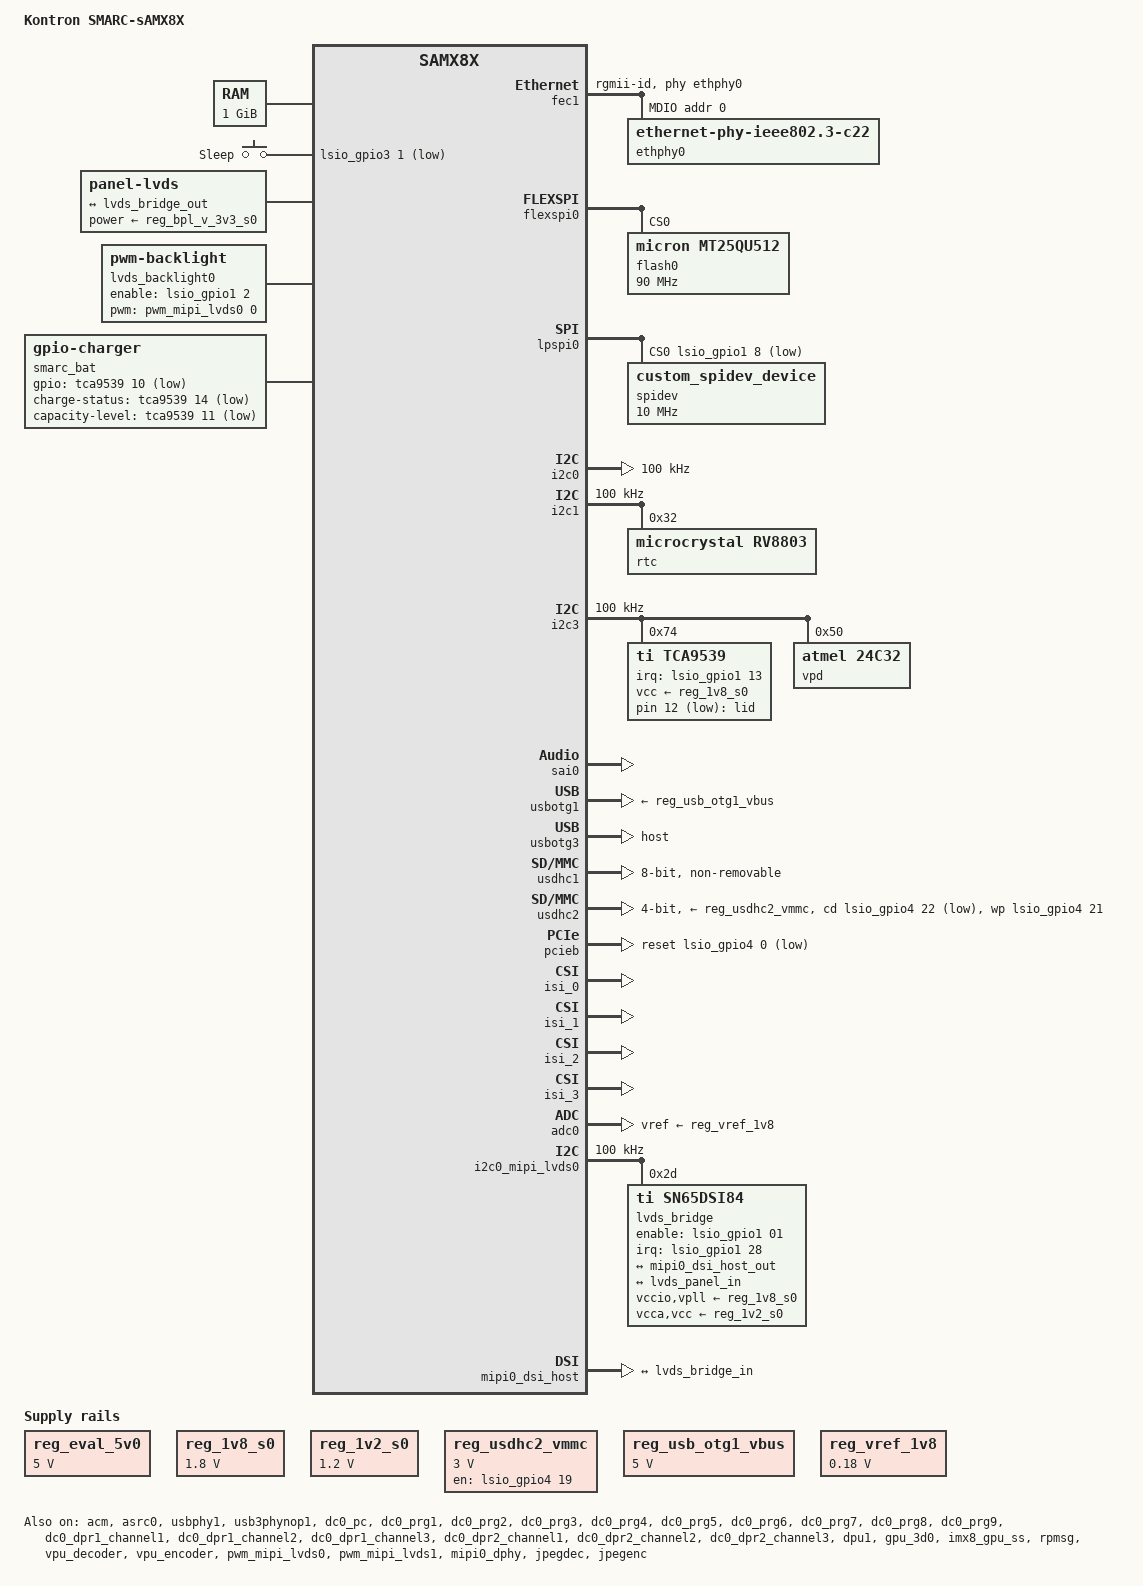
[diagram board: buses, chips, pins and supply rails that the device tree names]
/*
 * Copyright 2017 NXP
 * Copyright 2023 Berg Propulsion
 *
 * This program is free software; you can redistribute it and/or
 * modify it under the terms of the GNU General Public License
 * as published by the Free Software Foundation; either version 2
 * of the License, or (at your option) any later version.
 *
 * This program is distributed in the hope that it will be useful,
 * but WITHOUT ANY WARRANTY; without even the implied warranty of
 * MERCHANTABILITY or FITNESS FOR A PARTICULAR PURPOSE.  See the
 * GNU General Public License for more details.
 */

// This file now reflects the mpcflex hardware.

// In other words it contains the same as mpcflex.dts or mpcflex-p1.dts
// However, since the bootloaders are currently coded to load this file
// it will temporarily be (mis)named using the original BSP naming:
// kontron-samx8x-* ...

// Furthermore, content is still split between kontron-samx8x.dtsi and
// kontron-samx8x-qxp.dts.  That is a normal setup to specify the whole range
// of capabilities in the dtsi, and then refine the actual hardware usage in
// the dts.  However, in this case the content did not appear to be perfectly split
// and even some features unique to the Evaluation carrier board seemed to be
// mixed into the files that are supposed to be generic for the SMARC
// system-on-module only.  It is not ideal for a modular/flexible BSP, but
// for our MPC Flex product-specific we should be more free to combine data
// into a single description optimized for our purpose.
// For now, we keep the dtsi/dts split at the moment to be more similar to the
// original BSP files.

#include <dt-bindings/input/input.h>
#include <dt-bindings/usb/pd.h>

/ {
	model = "Kontron SMARC-sAMX8X";
	compatible = "kontron,samx8x";

	chosen {
//		bootargs = "console=ttyLP0,115200 earlycon=lpuart32,0x5a060000,115200";
		bootargs = "console=ttyLP0,115200 earlycon";
		stdout-path = &lpuart0;
	};

	scu {
		thermal-sensor {
			tsens-num = <1>;
		};
	};

	aliases {
		csi0 = &mipi_csi_0;
		dpu0 = &dpu1;
		ethernet0 = &fec1;
		ethernet1 = &fec2;
		dsi_phy0 = &mipi0_dphy;
		dsi_phy1 = &mipi1_dphy;
		mipi_dsi0 = &mipi0_dsi_host;
		mipi_dsi1 = &mipi1_dsi_host;
		ldb0 = &ldb1;
		ldb1 = &ldb2;
		isi0 = &isi_0;
		isi1 = &isi_1;
		isi2 = &isi_2;
		isi3 = &isi_3;
		isi4 = &isi_4;
		isi5 = &isi_5;
		isi6 = &isi_6;
		isi7 = &isi_7;
		serial0 = &lpuart0;
		serial1 = &lpuart1;
		serial2 = &lpuart2;
		serial3 = &lpuart3;
		mmc0 = &usdhc1;
		mmc1 = &usdhc2;
		can0 = &flexcan1;
		can1 = &flexcan2;
		i2c0 = &i2c0;    /* i2c_pm */
		i2c1 = &i2c1;    /* i2c_int*/
		i2c2 = &i2c3;    /* i2c_gp */
		i2c3 = &i2c_mipi_csi0;
		i2c4 = &i2c0_mipi_lvds0;
		i2c5 = &i2c0_mipi_lvds1;
		gpio0 = &lsio_gpio0;
		gpio1 = &lsio_gpio1;
		gpio2 = &lsio_gpio2;
		gpio3 = &lsio_gpio3;
		gpio4 = &lsio_gpio4;
		gpio5 = &lsio_gpio5;
		gpio6 = &lsio_gpio6;
		gpio7 = &lsio_gpio7;
	};

	memory@80000000 {
		device_type = "memory";
		reg = <0x00000000 0x80000000 0 0x40000000>;
	};

	reserved-memory {
		#address-cells = <2>;
		#size-cells = <2>;
		ranges;

		/*
		 * 0x8800_0000 ~ 0x8FFF_FFFF is reserved for M4
		 * Shouldn't be used at A core and Linux side.
		 *
		 */
		m4_reserved: m4@0x88000000 {
			no-map;
			reg = <0 0x88000000 0 0x8000000>;
		};

		rpmsg_reserved: rpmsg@0x90000000 {
			no-map;
			reg = <0 0x90000000 0 0x400000>;
		};

		rpmsg_dma_reserved:rpmsg_dma@0x90400000 {
			compatible = "shared-dma-pool";
			no-map;
			reg = <0 0x90400000 0 0x100000>;
		};

		decoder_boot: decoder-boot@84000000 {
			reg = <0 0x84000000 0 0x2000000>;
			no-map;
		};

		encoder_boot: encoder-boot@86000000 {
			reg = <0 0x86000000 0 0x200000>;
			no-map;
		};

		decoder_rpc: decoder-rpc@0x92000000 {
			reg = <0 0x92000000 0 0x200000>;
			no-map;
		};

		encoder_rpc: encoder-rpc@0x92200000 {
			reg = <0 0x92200000 0 0x200000>;
			no-map;
		};

		encoder_reserved: encoder_reserved@94400000 {
			no-map;
			reg = <0 0x94400000 0 0x800000>;
		};
	};

	reg_eval_5v0: regulator-eval-5V0 {
		compatible = "regulator-fixed";
		regulator-name = "eval-5V0";
		regulator-min-microvolt = <5000000>;
		regulator-max-microvolt = <5000000>;
	};

	reg_1v8_s0: regulator-pmic-1v8 {
		compatible = "regulator-fixed";
		regulator-name = "edp-bridge-1v8";
		regulator-min-microvolt = <1800000>;
		regulator-max-microvolt = <1800000>;
	};

	reg_1v2_s0: regulator-edp-bridge {
		compatible = "regulator-fixed";
		regulator-name = "edp-bridge-1v2";
		regulator-min-microvolt = <1200000>;
		regulator-max-microvolt = <1200000>;
	};

	reg_usdhc2_vmmc: usdhc2_vmmc {
		compatible = "regulator-fixed";
		regulator-name = "SD1_SPWR";
		regulator-min-microvolt = <3000000>;
		regulator-max-microvolt = <3000000>;
		gpio = <&lsio_gpio4 19 GPIO_ACTIVE_HIGH>;
		off-on-delay = <3480>;
		enable-active-high;
	};

	reg_usb_otg1_vbus: regulator@0 {
		compatible = "regulator-fixed";
//		reg = <0>;
		regulator-name = "usb_otg1_vbus";
		regulator-min-microvolt = <5000000>;
		regulator-max-microvolt = <5000000>;
	};

	reg_vref_1v8: adc_vref_1v8 {
		compatible = "regulator-fixed";
		regulator-name = "vref_1v8";
		regulator-min-microvolt = <180000>;
		regulator-max-microvolt = <180000>;
	};

	gpio-input {
		compatible = "gpio-keys-polled";
		pinctrl-names = "default";
		pinctrl-0 = <&gpio_keys>;
		#address-cells = <1>;
		#size-cells = <0>;
		poll-interval = <100>;
		autorepeat;
		lid {
			label = "lid";
			linux,input-type = <EV_SW>;
			linux,code = <SW_LID>;
			gpios = <&tca9539 12 1>;
		};

		sleep {
			label = "Sleep";
			gpios = <&lsio_gpio3 1 GPIO_ACTIVE_LOW>;
			linux,code = <KEY_SLEEP>;
			debounce-interval = <1>;
//			gpio-key,wakeup;
		};
	};

	// Quick references to related files:
	// Driver: ../../../../../drivers/gpu/drm/panel/panel-simple.c
	// The main DTS file: ./kontron-samx8x-qxp.dts
	lvds: display@0 {
		label = "lvds";
		power-supply = <&reg_bpl_v_3v3_s0>;
		compatible = "panel-lvds";
		data-mapping = "vesa-24";

		// Width/Height is required! (the actual size might not be correct
		// right now, but some values must be set)
		width-mm = <476>;
		height-mm = <268>;

		// Parameters according to the 10.4 timing.pdf we received:
		panel-timing {
			hactive = <1024>;
			vactive = <768>;
			clock-frequency = <65000000>;
			hsync-len = <30>;
			hback-porch = <100>;
			hfront-porch = <190>;
			vsync-len = <5>;
			vback-porch = <10>;
			vfront-porch = <23>;
		};

		port {
			lvds_panel_in: endpoint {
				remote-endpoint = <&lvds_bridge_out>;
			};
		};
	};

	lvds_backlight0: lvds_backlight@0 {
		compatible = "pwm-backlight";
		pwms = <&pwm_mipi_lvds0 0 5000000 0>;
		enable-gpios = <&lsio_gpio1 2 GPIO_ACTIVE_HIGH>;
		brightness-levels = < 0  1  2  3  4  5  6  7  8  9
				     10 11 12 13 14 15 16 17 18 19
				     20 21 22 23 24 25 26 27 28 29
				     30 31 32 33 34 35 36 37 38 39
				     40 41 42 43 44 45 46 47 48 49
				     50 51 52 53 54 55 56 57 58 59
				     60 61 62 63 64 65 66 67 68 69
				     70 71 72 73 74 75 76 77 78 79
				     80 81 82 83 84 85 86 87 88 89
				     90 91 92 93 94 95 96 97 98 99
				    100>;
		default-brightness-level = <80>;
	};

        // We only have one display, so this should probably be deleted
	/*lvds_backlight1: lvds_backlight@1 {
		compatible = "pwm-backlight";
		pwms = <&pwm_mipi_lvds1 0 5000000 0>;
		enable-gpios = <&lsio_gpio1 0 GPIO_ACTIVE_HIGH>;
		brightness-levels = < 0  1  2  3  4  5  6  7  8  9
				     10 11 12 13 14 15 16 17 18 19
				     20 21 22 23 24 25 26 27 28 29
				     30 31 32 33 34 35 36 37 38 39
				     40 41 42 43 44 45 46 47 48 49
				     50 51 52 53 54 55 56 57 58 59
				     60 61 62 63 64 65 66 67 68 69
				     70 71 72 73 74 75 76 77 78 79
				     80 81 82 83 84 85 86 87 88 89
				     90 91 92 93 94 95 96 97 98 99
				    100>;
		default-brightness-level = <80>;
	};
*/

	smarc_bat: gpio-charger0 {
		compatible = "gpio-charger";
		charger-type = "battery";
		gpios = <&tca9539 10 GPIO_ACTIVE_LOW>;
		charge-status-gpios = <&tca9539 14 GPIO_ACTIVE_LOW>;
		capacity-level-gpios = <&tca9539 11 GPIO_ACTIVE_LOW>;
	};
};

// acm is for audio, defined in freescale (audio) dtsi
&acm {
	status = "okay";
};

// asrc0 is for audio, defined in freescale (audio) dtsi
&asrc0 {
	fsl,asrc-rate  = <48000>;
	status = "okay";
};

// iomuxc is an io mux presumably, 
// defined in freescale (SoC) dtsi, for example imx8qm/mm/ etc .dtsi
&iomuxc {
	samx8x {
		pinctrl_csi0_lpi2c0: csi0lpi2c0grp {
			fsl,pins = <
				IMX8QXP_MIPI_CSI0_I2C0_SCL_MIPI_CSI0_I2C0_SCL	0xc2000020
				IMX8QXP_MIPI_CSI0_I2C0_SDA_MIPI_CSI0_I2C0_SDA	0xc2000020
			>;
		};

		pinctrl_lpuart0: lpuart0grp {
			fsl,pins = <
				IMX8QXP_UART0_RX_ADMA_UART0_RX	0x06000020
				IMX8QXP_UART0_TX_ADMA_UART0_TX	0x06000020
			>;
		};

		pinctrl_lpuart1: lpuart1grp {
			fsl,pins = <
				IMX8QXP_UART1_TX_ADMA_UART1_TX		0x06000020
				IMX8QXP_UART1_RX_ADMA_UART1_RX		0x06000020
				IMX8QXP_UART1_RTS_B_ADMA_UART1_RTS_B	0x06000020
				IMX8QXP_UART1_CTS_B_ADMA_UART1_CTS_B	0x06000020
			>;
		};

		pinctrl_lpuart2: lpuart2grp {
			fsl,pins = <
				IMX8QXP_UART2_TX_ADMA_UART2_TX	0x06000020
				IMX8QXP_UART2_RX_ADMA_UART2_RX	0x06000020
			>;
		};

		pinctrl_lpuart3: lpuart3grp {
			fsl,pins = <
				IMX8QXP_FLEXCAN2_TX_ADMA_UART3_TX	0x06000020
				IMX8QXP_FLEXCAN2_RX_ADMA_UART3_RX	0x06000020
			>;
		};

		pinctrl_fec1: fec1grp {
			fsl,pins = <
				IMX8QXP_ENET0_MDC_CONN_ENET0_MDC			0x06000020
				IMX8QXP_ENET0_MDIO_CONN_ENET0_MDIO			0x06000020
				IMX8QXP_ENET0_RGMII_TX_CTL_CONN_ENET0_RGMII_TX_CTL	0x06000020
				IMX8QXP_ENET0_RGMII_TXC_CONN_ENET0_RGMII_TXC		0x06000020
				IMX8QXP_ENET0_RGMII_TXD0_CONN_ENET0_RGMII_TXD0		0x06000020
				IMX8QXP_ENET0_RGMII_TXD1_CONN_ENET0_RGMII_TXD1		0x06000020
				IMX8QXP_ENET0_RGMII_TXD2_CONN_ENET0_RGMII_TXD2		0x06000020
				IMX8QXP_ENET0_RGMII_TXD3_CONN_ENET0_RGMII_TXD3		0x06000020
				IMX8QXP_ENET0_RGMII_RXC_CONN_ENET0_RGMII_RXC		0x06000020
				IMX8QXP_ENET0_RGMII_RX_CTL_CONN_ENET0_RGMII_RX_CTL	0x06000020
				IMX8QXP_ENET0_RGMII_RXD0_CONN_ENET0_RGMII_RXD0		0x06000020
				IMX8QXP_ENET0_RGMII_RXD1_CONN_ENET0_RGMII_RXD1		0x06000020
				IMX8QXP_ENET0_RGMII_RXD2_CONN_ENET0_RGMII_RXD2		0x06000020
				IMX8QXP_ENET0_RGMII_RXD3_CONN_ENET0_RGMII_RXD3		0x06000020
			>;
		};

		pinctrl_flexcan1: flexcan0grp {
			fsl,pins = <
				IMX8QXP_FLEXCAN0_TX_ADMA_FLEXCAN0_TX	0x21
				IMX8QXP_FLEXCAN0_RX_ADMA_FLEXCAN0_RX	0x21
			>;
		};

		pinctrl_flexcan2: flexcan1grp {
			fsl,pins = <
				IMX8QXP_FLEXCAN1_TX_ADMA_FLEXCAN1_TX	0x21
				IMX8QXP_FLEXCAN1_RX_ADMA_FLEXCAN1_RX	0x21
			>;
		};

		pinctrl_flexspi0: flexspi0grp {
			fsl,pins = <
				IMX8QXP_QSPI0A_DATA0_LSIO_QSPI0A_DATA0	0x0600004c
				IMX8QXP_QSPI0A_DATA1_LSIO_QSPI0A_DATA1	0x0600004c
				IMX8QXP_QSPI0A_DATA2_LSIO_QSPI0A_DATA2	0x0600004c
				IMX8QXP_QSPI0A_DATA3_LSIO_QSPI0A_DATA3	0x0600004c
				IMX8QXP_QSPI0A_DQS_LSIO_GPIO3_IO13	0x06000040
				IMX8QXP_QSPI0A_SS0_B_LSIO_QSPI0A_SS0_B	0x0600004c
				IMX8QXP_QSPI0A_SS1_B_LSIO_QSPI0A_SS1_B	0x0600004c
				IMX8QXP_QSPI0A_SCLK_LSIO_QSPI0A_SCLK	0x0600004c
				IMX8QXP_QSPI0B_SCLK_LSIO_QSPI0B_SCLK	0x0600004c
				IMX8QXP_QSPI0B_DATA0_LSIO_QSPI0B_DATA0	0x0600004c
				IMX8QXP_QSPI0B_DATA1_LSIO_QSPI0B_DATA1	0x0600004c
				IMX8QXP_QSPI0B_DATA2_LSIO_QSPI0B_DATA2	0x0600004c
				IMX8QXP_QSPI0B_DATA3_LSIO_QSPI0B_DATA3	0x0600004c
				IMX8QXP_QSPI0B_SS0_B_LSIO_QSPI0B_SS0_B	0x0600004c
				IMX8QXP_QSPI0B_SS1_B_LSIO_QSPI0B_SS1_B	0x0600004c
			>;
		};

		pinctrl_lpspi0: lpspi0grp {
			fsl,pins = <
				IMX8QXP_SPI0_SCK_ADMA_SPI0_SCK		0x00000021
				IMX8QXP_SPI0_SDO_ADMA_SPI0_SDO		0x00000021
				IMX8QXP_SPI0_SDI_ADMA_SPI0_SDI		0x00000021
				IMX8QXP_SPI0_CS0_LSIO_GPIO1_IO08	0x00000021
				IMX8QXP_SPI0_CS1_LSIO_GPIO1_IO07	0x00000021
			>;
		};

		pinctrl_i2c0_mipi_lvds0: mipi_lvds0_i2c0_grp {
			fsl,pins = <
				IMX8QXP_MIPI_DSI0_I2C0_SCL_MIPI_DSI0_I2C0_SCL	0xc6000020
				IMX8QXP_MIPI_DSI0_I2C0_SDA_MIPI_DSI0_I2C0_SDA	0xc6000020
				IMX8QXP_SPI2_SDO_LSIO_GPIO1_IO01		0x00000041
				IMX8QXP_MIPI_DSI0_GPIO0_01_LSIO_GPIO1_IO28	0x00000061
			>;
		};

		pinctrl_pwm_mipi_lvds0: mipi_lvds0_pwm_grp {
			fsl,pins = <
				IMX8QXP_MIPI_DSI0_GPIO0_00_MIPI_DSI0_PWM0_OUT	0x00000020
				IMX8QXP_SPI2_SDI_LSIO_GPIO1_IO02		0x00000041
			>;
		};

		pinctrl_i2c0_mipi_lvds1: mipi_lvds1_i2c0_grp {
			fsl,pins = <
				IMX8QXP_MIPI_DSI1_I2C0_SCL_MIPI_DSI1_I2C0_SCL	0xc6000020
				IMX8QXP_MIPI_DSI1_I2C0_SDA_MIPI_DSI1_I2C0_SDA	0xc6000020
				IMX8QXP_MIPI_DSI1_GPIO0_01_LSIO_GPIO2_IO00	0x00000061
			>;
		};

		pinctrl_pwm_mipi_lvds1: mipi_lvds1_pwm_grp {
			fsl,pins = <
				IMX8QXP_MIPI_DSI1_GPIO0_00_MIPI_DSI1_PWM0_OUT	0x00000020
				IMX8QXP_SPI2_CS0_LSIO_GPIO1_IO00		0x00000021
			>;
		};

		pinctrl_lpi2c_pm: lpi0cgrp {
			fsl,pins = <
				IMX8QXP_MIPI_CSI0_GPIO0_00_ADMA_I2C0_SCL	0x06000021
				IMX8QXP_MIPI_CSI0_GPIO0_01_ADMA_I2C0_SDA	0x06000021
				IMX8QXP_QSPI0B_DQS_LSIO_GPIO3_IO22		0x06000040
			>;
		};

		pinctrl_lpi2c_int: lpi1cgrp {
			fsl,pins = <
				IMX8QXP_USB_SS3_TC1_ADMA_I2C1_SCL	0x06000021
				IMX8QXP_USB_SS3_TC3_ADMA_I2C1_SDA	0x06000021
			>;
		};

		pinctrl_lpi2c_gp: lpi3cgrp {
			fsl,pins = <
				IMX8QXP_CSI_EN_ADMA_I2C3_SCL	0x06000021
				IMX8QXP_CSI_RESET_ADMA_I2C3_SDA	0x06000021
			>;
		};

		pinctrl_sai0: sai0grp {
			fsl,pins = <
				IMX8QXP_SAI0_RXD_ADMA_SAI0_RXD		0xc6000040
				IMX8QXP_SAI0_TXC_ADMA_SAI0_TXC		0xc6000040
				IMX8QXP_SAI0_TXFS_ADMA_SAI0_TXFS	0xc6000040
				IMX8QXP_SAI0_TXD_ADMA_SAI0_TXD		0xc6000060
				IMX8QXP_ADC_IN3_ADMA_ACM_MCLK_OUT0	0xc0000040
			>;
		};

		pinctrl_usdhc1: usdhc1grp {
			fsl,pins = <
				IMX8QXP_EMMC0_CLK_CONN_EMMC0_CLK	0x06000041
				IMX8QXP_EMMC0_CMD_CONN_EMMC0_CMD	0x00000021
				IMX8QXP_EMMC0_DATA0_CONN_EMMC0_DATA0	0x00000021
				IMX8QXP_EMMC0_DATA1_CONN_EMMC0_DATA1	0x00000021
				IMX8QXP_EMMC0_DATA2_CONN_EMMC0_DATA2	0x00000021
				IMX8QXP_EMMC0_DATA3_CONN_EMMC0_DATA3	0x00000021
				IMX8QXP_EMMC0_DATA4_CONN_EMMC0_DATA4	0x00000021
				IMX8QXP_EMMC0_DATA5_CONN_EMMC0_DATA5	0x00000021
				IMX8QXP_EMMC0_DATA6_CONN_EMMC0_DATA6	0x00000021
				IMX8QXP_EMMC0_DATA7_CONN_EMMC0_DATA7	0x00000021
				IMX8QXP_EMMC0_STROBE_CONN_EMMC0_STROBE	0x06000041
			>;
		};

		pinctrl_usdhc1_100mhz: usdhc1grp100mhz {
			fsl,pins = <
				IMX8QXP_EMMC0_CLK_CONN_EMMC0_CLK	0x06000040
				IMX8QXP_EMMC0_CMD_CONN_EMMC0_CMD	0x00000020
				IMX8QXP_EMMC0_DATA0_CONN_EMMC0_DATA0	0x00000020
				IMX8QXP_EMMC0_DATA1_CONN_EMMC0_DATA1	0x00000020
				IMX8QXP_EMMC0_DATA2_CONN_EMMC0_DATA2	0x00000020
				IMX8QXP_EMMC0_DATA3_CONN_EMMC0_DATA3	0x00000020
				IMX8QXP_EMMC0_DATA4_CONN_EMMC0_DATA4	0x00000020
				IMX8QXP_EMMC0_DATA5_CONN_EMMC0_DATA5	0x00000020
				IMX8QXP_EMMC0_DATA6_CONN_EMMC0_DATA6	0x00000020
				IMX8QXP_EMMC0_DATA7_CONN_EMMC0_DATA7	0x00000020
				IMX8QXP_EMMC0_STROBE_CONN_EMMC0_STROBE	0x06000040
			>;
		};

		pinctrl_usdhc1_200mhz: usdhc1grp200mhz {
			fsl,pins = <
				IMX8QXP_EMMC0_CLK_CONN_EMMC0_CLK	0x06000040
				IMX8QXP_EMMC0_CMD_CONN_EMMC0_CMD	0x00000020
				IMX8QXP_EMMC0_DATA0_CONN_EMMC0_DATA0	0x00000020
				IMX8QXP_EMMC0_DATA1_CONN_EMMC0_DATA1	0x00000020
				IMX8QXP_EMMC0_DATA2_CONN_EMMC0_DATA2	0x00000020
				IMX8QXP_EMMC0_DATA3_CONN_EMMC0_DATA3	0x00000020
				IMX8QXP_EMMC0_DATA4_CONN_EMMC0_DATA4	0x00000020
				IMX8QXP_EMMC0_DATA5_CONN_EMMC0_DATA5	0x00000020
				IMX8QXP_EMMC0_DATA6_CONN_EMMC0_DATA6	0x00000020
				IMX8QXP_EMMC0_DATA7_CONN_EMMC0_DATA7	0x00000020
				IMX8QXP_EMMC0_STROBE_CONN_EMMC0_STROBE	0x06000040
			>;
		};

		pinctrl_usdhc2_gpio: usdhc2gpiogrp {
			fsl,pins = <
				IMX8QXP_USDHC1_RESET_B_LSIO_GPIO4_IO19	0x06000021
				IMX8QXP_USDHC1_WP_LSIO_GPIO4_IO21	0x06000021
				IMX8QXP_USDHC1_CD_B_LSIO_GPIO4_IO22	0x06000021
			>;
		};

		pinctrl_usdhc2: usdhc2grp {
			fsl,pins = <
				IMX8QXP_USDHC1_CLK_CONN_USDHC1_CLK		0x06000041
				IMX8QXP_USDHC1_CMD_CONN_USDHC1_CMD		0x06000021
				IMX8QXP_USDHC1_DATA0_CONN_USDHC1_DATA0		0x06000021
				IMX8QXP_USDHC1_DATA1_CONN_USDHC1_DATA1		0x06000021
				IMX8QXP_USDHC1_DATA2_CONN_USDHC1_DATA2		0x06000021
				IMX8QXP_USDHC1_DATA3_CONN_USDHC1_DATA3		0x06000021
				IMX8QXP_USDHC1_VSELECT_CONN_USDHC1_VSELECT	0x06000021
			>;
		};

		pinctrl_usdhc2_100mhz: usdhc2grp100mhz {
			fsl,pins = <
				IMX8QXP_USDHC1_CLK_CONN_USDHC1_CLK		0x06000040
				IMX8QXP_USDHC1_CMD_CONN_USDHC1_CMD		0x06000020
				IMX8QXP_USDHC1_DATA0_CONN_USDHC1_DATA0		0x06000020
				IMX8QXP_USDHC1_DATA1_CONN_USDHC1_DATA1		0x06000020
				IMX8QXP_USDHC1_DATA2_CONN_USDHC1_DATA2		0x06000020
				IMX8QXP_USDHC1_DATA3_CONN_USDHC1_DATA3		0x06000020
				IMX8QXP_USDHC1_VSELECT_CONN_USDHC1_VSELECT	0x06000020
			>;
		};

		pinctrl_usdhc2_200mhz: usdhc2grp200mhz {
			fsl,pins = <
				IMX8QXP_USDHC1_CLK_CONN_USDHC1_CLK		0x06000040
				IMX8QXP_USDHC1_CMD_CONN_USDHC1_CMD		0x06000020
				IMX8QXP_USDHC1_DATA0_CONN_USDHC1_DATA0		0x06000020
				IMX8QXP_USDHC1_DATA1_CONN_USDHC1_DATA1		0x06000020
				IMX8QXP_USDHC1_DATA2_CONN_USDHC1_DATA2		0x06000020
				IMX8QXP_USDHC1_DATA3_CONN_USDHC1_DATA3		0x06000020
				IMX8QXP_USDHC1_VSELECT_CONN_USDHC1_VSELECT	0x06000020
			>;
		};

		pinctrl_pcieb: pcieagrp {
			fsl,pins = <
				IMX8QXP_PCIE_CTRL0_PERST_B_LSIO_GPIO4_IO00	0x06000021
				IMX8QXP_PCIE_CTRL0_WAKE_B_LSIO_GPIO4_IO02	0x04000021
			>;
		};

		pinctrl_lcdif: lcdif_grp {
			fsl,pins = <
				IMX8QXP_ESAI0_FSR_ADMA_LCDIF_D00	0x00000060
				IMX8QXP_ESAI0_FST_ADMA_LCDIF_D01	0x00000060
				IMX8QXP_ESAI0_SCKR_ADMA_LCDIF_D02	0x00000060
				IMX8QXP_ESAI0_SCKT_ADMA_LCDIF_D03	0x00000060
				IMX8QXP_ESAI0_TX0_ADMA_LCDIF_D04	0x00000060
				IMX8QXP_ESAI0_TX1_ADMA_LCDIF_D05	0x00000060
				IMX8QXP_ESAI0_TX2_RX3_ADMA_LCDIF_D06	0x00000060
				IMX8QXP_ESAI0_TX3_RX2_ADMA_LCDIF_D07	0x00000060
				IMX8QXP_ESAI0_TX4_RX1_ADMA_LCDIF_D08	0x00000060
				IMX8QXP_ESAI0_TX5_RX0_ADMA_LCDIF_D09	0x00000060
				IMX8QXP_SPDIF0_RX_ADMA_LCDIF_D10	0x00000060
				IMX8QXP_SPDIF0_TX_ADMA_LCDIF_D11	0x00000060
				IMX8QXP_SPDIF0_EXT_CLK_ADMA_LCDIF_D12	0x00000060
				IMX8QXP_SPI3_SCK_ADMA_LCDIF_D13		0x00000060
				IMX8QXP_SPI3_SDO_ADMA_LCDIF_D14		0x00000060
				IMX8QXP_SPI3_SDI_ADMA_LCDIF_D15		0x00000060
				IMX8QXP_SPI3_CS0_ADMA_LCDIF_HSYNC	0x00000060
				IMX8QXP_MCLK_IN1_ADMA_LCDIF_EN		0x00000060
				IMX8QXP_MCLK_IN0_ADMA_LCDIF_VSYNC	0x00000060
				IMX8QXP_MCLK_OUT0_ADMA_LCDIF_CLK	0x00000060
			>;
		};

		pinctrl_mipi_csi0: mipicsi0grp{
			fsl,pins = <
				IMX8QXP_MIPI_CSI0_MCLK_OUT_MIPI_CSI0_ACM_MCLK_OUT	0xC0000041
			>;
		};

		pinctrl_adc0: adc0grp {
			fsl,pins = <
				IMX8QXP_ADC_IN0_ADMA_ADC_IN0	0x60
				IMX8QXP_ADC_IN1_ADMA_ADC_IN1	0x60
			>;
		};

		pinctrl_tca9539: tca9539grp {
			fsl,pins = <
				IMX8QXP_ADC_IN5_LSIO_GPIO1_IO13		0x21
			>;
		};

		pinctrl_usbotg1: usbotg1 {
			fsl,pins = <
				IMX8QXP_USB_SS3_TC0_CONN_USB_OTG1_PWR	0x00000021
			>;
		};

		gpio_keys: gpio_keysgrp {
			fsl,pins = <
				/* SLEEP# */
				IMX8QXP_CSI_MCLK_LSIO_GPIO3_IO01		0x21
				/* GPIO10 */
				IMX8QXP_CSI_PCLK_LSIO_GPIO3_IO00		0x21
				/* GPIO11 */
				IMX8QXP_ADC_IN2_LSIO_GPIO1_IO12		0x21
				/* GPIO13 */
				IMX8QXP_SCU_GPIO0_01_SCU_GPIO0_IO01	0x21
			>;
		};

	};
};

&lpuart0 {
	pinctrl-names = "default";
	pinctrl-0 = <&pinctrl_lpuart0>;
};

&lpuart1 {
	pinctrl-names = "default";
	pinctrl-0 = <&pinctrl_lpuart1>;
};

&lpuart2 {
	pinctrl-names = "default";
	pinctrl-0 = <&pinctrl_lpuart2>;
};

&lpuart3 {
	pinctrl-names = "default";
	pinctrl-0 = <&pinctrl_lpuart3>;
};

// fec1 is for ethernet, defined in freescale (SoC) dtsi, for example imx8qm/mm/mn/mq etc
// (but also in imx8-ss-conn.dtsi)
&fec1 {
	pinctrl-names = "default";
	pinctrl-0 = <&pinctrl_fec1>;
	phy-mode = "rgmii-id";
	phy-handle = <&ethphy0>;
	fsl,magic-packet;
	local-mac-address = [00 11 22 33 44 55];
	status = "okay";

	mdio {
		#address-cells = <1>;
		#size-cells = <0>;

		ethphy0: ethernet-phy@0 {
			compatible = "ethernet-phy-ieee802.3-c22";
			reg = <0>;
		};
	};
};

// For CAN controller, obviously
&flexcan1 {
	pinctrl-names = "default";
	pinctrl-0 = <&pinctrl_flexcan1>;
};

&flexcan2 {
	pinctrl-names = "default";
	pinctrl-0 = <&pinctrl_flexcan2>;
};

// SPI flash, it seems
&flexspi0 {
	pinctrl-names = "default";
	pinctrl-0 = <&pinctrl_flexspi0>;
	status = "okay";

	flash0: mt25qu512@0 {
		reg = <0>;
		#address-cells = <1>;
		#size-cells = <1>;
		compatible = "micron,mt25qu512", "jedec,spi-nor";
		spi-max-frequency = <90000000>;
	};
};

// SPI bus definition, presumably
// defined in ../freescale/imx8-ss-dma.dtsi
&lpspi0 {
	#address-cells = <1>;
	#size-cells = <0>;
	pinctrl-names = "default";
	pinctrl-0 = <&pinctrl_lpspi0>;
	cs-gpios = <&lsio_gpio1 8 GPIO_ACTIVE_LOW>;
	dma-names = "tx","rx";
	dmas = <&edma2 1 0 0>, <&edma2 0 0 1>;
	clocks = <&clk IMX_SC_R_SPI_0 IMX_SC_PM_CLK_PER>,
		 <&dma_ipg_clk>;
	fsl,spi-num-chipselects = <1>;
	status = "okay";

	spidev@0 {
		compatible = "custom_spidev_device";
		reg = <0>;
		spi-max-frequency = <10000000>;
	};

/*
	flash1: w25q128fw@0 {
		#address-cells = <1>;
		#size-cells = <1>;
		reg = <0>;
		compatible = "w25q128fw", "jedec,spi-nor";
		spi-max-frequency = <10000000>;
	};
*/
};

// Clock controller
// defined in ../freescale/imx8-ss-dma.dtsi
&spi0_lpcg {
	status = "disabled";
};

// I2C PM
&i2c0 {
	#address-cells = <1>;
	#size-cells = <0>;
	pinctrl-names = "default";
	pinctrl-0 = <&pinctrl_lpi2c_pm>;
	clock-frequency = <100000>;
	clkhi = <28>;
	clklo = <30>;
	status = "okay";
};

// I2C INT
&i2c1 {
	#address-cells = <1>;
	#size-cells = <0>;
	clock-frequency = <100000>;
	pinctrl-names = "default";
	pinctrl-0 = <&pinctrl_lpi2c_int>;
	clkhi = <28>;
	clklo = <30>;
	status = "okay";

	rtc@32 {
		compatible = "microcrystal,rv8803";
		reg = <0x32>;
		epson,vdet-disable;
		trickle-diode-disable;
	};
};

// I2C GP
&i2c3 {
	#address-cells = <1>;
	#size-cells = <0>;
	clock-frequency = <100000>;
	pinctrl-names = "default";
	pinctrl-0 = <&pinctrl_lpi2c_gp>;
	clkhi = <28>;
	clklo = <30>;
	status = "okay";

	tca9539: gpio@74 {
		compatible = "ti,tca9539";
		pinctrl-names = "default";
		pinctrl-0 = <&pinctrl_tca9539>;
		reg = <0x74>;
		gpio-controller;
		#gpio-cells = <2>;
		gpio-line-names =
		    "GPIO0_CAM0_PWR_N", "GPIO1_CAM1_PWR_N",
		    "GPIO2_CAM0_RST_N", "GPIO3_CAM1_RST_N",
		    "GPIO4_HDA_RST_N", "GPIO5_PWM_OUT",
		    "GPIO6_TACHIN", "GPIO7", "GPIO8",
		    "GPIO9", "CHARGER_PRSNT", "BATLO",
		    "LID", "", "CHARGING", "GPIO12";
		vcc-supply = <&reg_1v8_s0>;
		interrupt-parent = <&lsio_gpio1>;
		interrupts = <13 IRQ_TYPE_NONE>;
		interrupt-controller;
		#interrupt-cells = <2>;
	};

	vpd: eeprom@50 {
		compatible = "atmel,24c32";
		reg = <0x50>;
	};
};

// For audio, defined in freescale (audio) dts
&sai0 {
//	assigned-clocks = <&clk IMX8QXP_AUD_PLL0_DIV>,
//			<&clk IMX8QXP_AUD_ACM_AUD_PLL_CLK0_DIV>,
//			<&clk IMX8QXP_AUD_ACM_AUD_REC_CLK0_DIV>,
//			<&clk IMX8QXP_AUD_SAI_0_MCLK>;
	assigned-clocks = <&clk IMX_SC_R_AUDIO_PLL_0 IMX_SC_PM_CLK_PLL>,
			  <&clk IMX_SC_R_AUDIO_PLL_0 IMX_SC_PM_CLK_SLV_BUS>,
			  <&clk IMX_SC_R_AUDIO_PLL_0 IMX_SC_PM_CLK_MST_BUS>,
			  <&sai0_lpcg 0>;
	assigned-clock-rates = <786432000>, <49152000>, <12288000>, <49152000>;
	pinctrl-names = "default";
	pinctrl-0 = <&pinctrl_sai0>;
	status = "okay";
};

// USB OTG, obviously
&usbotg1 {
	pinctrl-names = "default";
	pinctrl-0 = <&pinctrl_usbotg1>;
	vbus-supply = <&reg_usb_otg1_vbus>;
	srp-disable;
	hnp-disable;
	adp-disable;
	power-active-high;
	disable-over-current;
	status = "okay";
};

&usbotg3 {
	dr_mode = "host";
	status = "okay";
};

// USB PHY
&usbphy1 {
	status = "okay";
};

&usb3phynop1 {
	status = "okay";
};

// SDHC card - refers to mmc definition
// defined in freescale (SoC) dtsi, for example imx8qm/mm/mn/mq etc
// (but also in imx8-ss-conn.dtsi)
&usdhc1 {
	pinctrl-names = "default", "state_100mhz", "state_200mhz";
	pinctrl-0 = <&pinctrl_usdhc1>;
	pinctrl-1 = <&pinctrl_usdhc1>;
	pinctrl-2 = <&pinctrl_usdhc1>;
//	pinctrl-1 = <&pinctrl_usdhc1_100mhz>;
//	pinctrl-2 = <&pinctrl_usdhc1_200mhz>;
	bus-width = <8>;
	no-sd;
	no-sdio;
	non-removable;
	status = "okay";
};

// Another SD?
&usdhc2 {
	pinctrl-names = "default", "state_100mhz", "state_200mhz";
	pinctrl-0 = <&pinctrl_usdhc2>, <&pinctrl_usdhc2_gpio>;
	pinctrl-1 = <&pinctrl_usdhc2>, <&pinctrl_usdhc2_gpio>;
	pinctrl-2 = <&pinctrl_usdhc2>, <&pinctrl_usdhc2_gpio>;
//	pinctrl-1 = <&pinctrl_usdhc2_100mhz>, <&pinctrl_usdhc2_gpio>;
//	pinctrl-2 = <&pinctrl_usdhc2_200mhz>, <&pinctrl_usdhc2_gpio>;
	bus-width = <4>;
	cd-gpios = <&lsio_gpio4 22 GPIO_ACTIVE_LOW>;
	wp-gpios = <&lsio_gpio4 21 GPIO_ACTIVE_HIGH>;
	vmmc-supply = <&reg_usdhc2_vmmc>;
	status = "okay";
};

// PCI bus definition
// defined in ../freescale/imx8qm-ss-hsio.dtsi
&pcieb {
	ext_osc = <1>;
	pinctrl-names = "default";
	pinctrl-0 = <&pinctrl_pcieb>;
	compatible = "fsl,imx8qxp-pcie","snps,dw-pcie";
	reset-gpio = <&lsio_gpio4 0 GPIO_ACTIVE_LOW>;
	status = "okay";
};

// Pixel combiner
// defined in ../freescale/imx8-ss-dc0.dtsi
&dc0_pc {
	status = "okay";
};

// Several other unknown subsystems under dc0:

&dc0_prg1 {
	status = "okay";
};

&dc0_prg2 {
	status = "okay";
};

&dc0_prg3 {
	status = "okay";
};

&dc0_prg4 {
	status = "okay";
};

&dc0_prg5 {
	status = "okay";
};

&dc0_prg6 {
	status = "okay";
};

&dc0_prg7 {
	status = "okay";
};

&dc0_prg8 {
	status = "okay";
};

&dc0_prg9 {
	status = "okay";
};

&dc0_dpr1_channel1 {
	status = "okay";
};

&dc0_dpr1_channel2 {
	status = "okay";
};

&dc0_dpr1_channel3 {
	status = "okay";
};

&dc0_dpr2_channel1 {
	status = "okay";
};

&dc0_dpr2_channel2 {
	status = "okay";
};

&dc0_dpr2_channel3 {
	status = "okay";
};

&dpu1 {
	status = "okay";
};

&gpu_3d0 {
	status = "okay";
};

&imx8_gpu_ss {
	status = "okay";
};

&rpmsg{
	/*
	 * 64K for one rpmsg instance:
	 */
	vdev-nums = <2>;
	reg = <0x0 0x90000000 0x0 0x20000>;
	memory-region = <&rpmsg_dma_reserved>;
	status = "okay";
};

&isi_0 {
	status = "okay";

	cap_device {
		status = "okay";
	};

	m2m_device {
		status = "okay";
	};
};

&isi_1 {
	status = "okay";

	cap_device {
		status = "okay";
	};
};

&isi_2 {
	status = "okay";

	cap_device {
		status = "okay";
	};
};

&isi_3 {
	status = "okay";

	cap_device {
		status = "okay";
	};
};

&vpu_decoder {
	boot-region = <&decoder_boot>;
	rpc-region = <&decoder_rpc>;
	reg-csr = <0x2d040000>;
	core_type = <1>;
	status = "okay";
};

&vpu_encoder {
	boot-region = <&encoder_boot>;
	rpc-region = <&encoder_rpc>;
	reserved-region = <&encoder_reserved>;
	reg-rpc-system = <0x40000000>;
	resolution-max = <1920 1080>;
	mbox-names = "enc1_tx0", "enc1_tx1", "enc1_rx";
	mboxes = <&mu1_m0 0 0
		  &mu1_m0 0 1
		  &mu1_m0 1 0>;
//	core_type = <1>;
	status = "okay";

	core0@1020000 {
		compatible = "fsl,imx8-mu1-vpu-m0";
		reg = <0x1020000 0x20000>;
		reg-csr = <0x1050000 0x10000>;
		interrupts = <GIC_SPI 470 IRQ_TYPE_LEVEL_HIGH>;
		fsl,vpu_ap_mu_id = <17>;
		fw-buf-size = <0x200000>;
		rpc-buf-size = <0x80000>;
		print-buf-size = <0x80000>;
	};
};

// AD converter??
// defined in ../freescale/imx8-ss-dma.dtsi
&adc0 {
	pinctrl-names = "default";
	pinctrl-0 = <&pinctrl_adc0>;
	vref-supply = <&reg_vref_1v8>;
	#io-channel-cells = <1>;
	io-channels = <&adc0 0>, <&adc0 1>;
	io-channel-names = "vin", "vbat";
	status = "okay";
};

/* DSI/LVDS port 0 */
&i2c0_mipi_lvds0 {
	#address-cells = <1>;
	#size-cells = <0>;
	pinctrl-names = "default";
	pinctrl-0 = <&pinctrl_i2c0_mipi_lvds0>;
	clock-frequency = <100000>;
	clkhi = <28>;
	clklo = <30>;
	status = "okay";

	lvds_bridge: lvds-bridge@2d {
		compatible = "ti,sn65dsi84";
		#address-cells = <1>;
		#size-cells = <0>;
		reg = <0x2d>;

		/* TODO: enable this when panel bind is solved */
		enable-gpios = <&lsio_gpio1 01 GPIO_ACTIVE_HIGH>;

		interrupts-extended = <&lsio_gpio1 28 IRQ_TYPE_EDGE_FALLING>;

		vccio-supply = <&reg_1v8_s0>;
		vcca-supply = <&reg_1v2_s0>;
		vpll-supply = <&reg_1v8_s0>;
		vcc-supply = <&reg_1v2_s0>;

		// Clock divider = 2 is supposedly the driver default but for
		// some reason it does not work properly when set to 2
		// explicitly?  Leaving it unset works!
		//sn-dsi-clk-divider = <2>;

		sn-dsi-lane-count = <4>;
		lvds-channel-count = <1>;
		lvds-set-24bpp-mode = <1>;

		// Datasheet page 10, 200mV < VID < 600mV, no exact
		// match but use 0b10 for  250mV < VOD < 430mV with
		// 100Ω termination.
		lvds-cha-vod-swing = <0x02>;
		lvds-chb-vod-swing = <0x02>;

		// (cm-adjust, adjusts the 1.2V voltage level)
		lvds-cha-cm-adjust = <0>;
		lvds-chb-cm-adjust = <0>;

		// sn-sync-delay: We are a bit uncertain on the value, but try
		// something more than 32 (which is default).  32 seems near the
		// limit of specs.  It's a 12 bit value, so can be up to 4095??
		sn-sync-delay = <40>; // This seems OK, 32 also works OK.

		// lvds-cha-vocm = false.  Also unnecessary if lvds-cha-cm-adjust
                // is set explicitly (above).  Same for channel b.
		// do not set: lvds-cha-vocm;
		// do not set: lvds-chb-vocm;

		// These booleans should be un-set
		// do not set: lvds-de-neg-polarity;
		// do not set: lvds-set-24bpp-format1;
		// do not set: lvds-even-odd-swap;
		// do not set: lvds-cha-reverse;
		// do not set: lvds-chb-reverse;
		// do not set: lvds-cha-term;
		// do not set: lvds-chb-term;
		// do not set: dsi-burst-mode;

		i2c-bus {
			#address-cells = <1>;
			#size-cells = <0>;
		};

		port@0 {
			reg = <0>;

			lvds_bridge_in: endpoint {
				remote-endpoint = <&mipi0_dsi_host_out>;
			};
		};

		port@1 {
			reg = <1>;

			lvds_bridge_out: endpoint {
				remote-endpoint = <&lvds_panel_in>;
			};
		};
	};
};

//&irqsteer_mipi_lvds0 {
//	status = "okay";
//};

&pwm_mipi_lvds0 {
	pinctrl-names = "default";
	pinctrl-0 = <&pinctrl_pwm_mipi_lvds0>;
	status = "okay";
};

&pwm_mipi_lvds1 {
	pinctrl-names = "default";
	pinctrl-0 = <&pinctrl_pwm_mipi_lvds1>;
	status = "okay";
};

&mipi0_dphy {
	status = "okay";
};

&mipi0_dsi_host {
	status = "okay";

	ports {
		port@1 {
			reg = <1>;
			mipi0_dsi_host_out: endpoint {
				remote-endpoint = <&lvds_bridge_in>;
			};
		};
	};
};

&jpegdec {
	status = "okay";
};

&jpegenc {
	status = "okay";
};

&lsio_gpio1 {
	pad-wakeup-num = <1>;
	/* IMX8QXP_ADC_IN5, SC_PAD_WAKEUP_FALL_EDGE, LINE 13 */
	pad-wakeup = < IMX8QXP_ADC_IN5 5 13 >;
	gpio-line-names =
		"", "", "", "", "", "", "", "",
		"", "", "", "", "GPIO11", "", "", "",
		"", "", "", "", "", "", "", "",
		"", "", "", "", "", "", "", "";
};

&lsio_gpio3 {
	pad-wakeup-num = <1>;
	/* IMX8QXP_CSI_MCLK, SC_PAD_WAKEUP_FALL_EDGE, LINE 1 */
	pad-wakeup = < IMX8QXP_CSI_MCLK 5 1 >;
	gpio-line-names =
		"GPIO10", "", "", "", "", "", "", "",
		"", "", "", "", "", "", "", "",
		"", "", "", "", "", "", "", "",
		"", "", "", "", "", "", "", "";
};

&lsio_gpio4 {
	pad-wakeup-num = <1>;
	/* IMX8QXP_PCIE_CTRL0_WAKE_B, SC_PAD_WAKEUP_FALL_EDGE, LINE 2 */
	pad-wakeup = < IMX8QXP_PCIE_CTRL0_WAKE_B 5 2 >;
};

&emvsim0_lpcg {
	status = "disabled";
};

&adc1_lpcg {
	status = "disabled";
};
